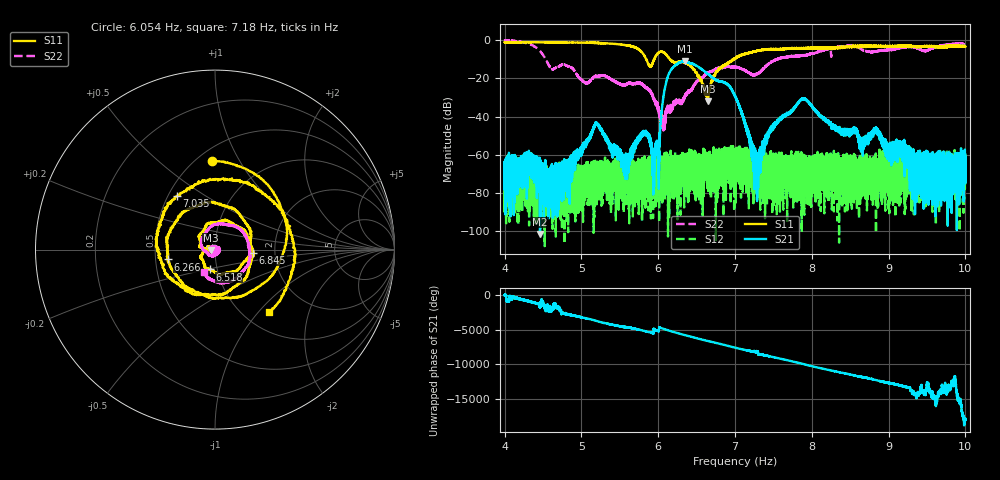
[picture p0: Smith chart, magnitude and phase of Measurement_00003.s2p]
!Created with skrf (http://scikit-rf.org).
# Hz S RI R 50.0
!freq ReS11 ImS11 ReS21 ImS21 ReS12 ImS12 ReS22 ImS22
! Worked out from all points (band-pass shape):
!   14001 points, 4 Hz to 10 Hz, reference 50 ohm
!   highest |S21| = -11.13 dB at 6.344 Hz (marker M1); lowest = -101.5 dB at 4.461 Hz (marker M2)
!   |S21| within 3 dB of the highest: 6.197 Hz to 6.528 Hz (331.1 mHz wide, 5.2 % of centre); 6.528568 Hz to 6.528578 Hz (10.18 uHz wide, 0.000156 % of centre) (the widest 2 of 3)
!   lowest |S11| = -32.1 dB at 6.644 Hz (marker M3), VSWR 1.05, Z = 47.6 - j0.177 ohm
!   |S11| at or under -10 dB: 5.844 Hz to 5.949 Hz (105.3 mHz wide, 1.79 % of centre); 6.152 Hz to 6.981 Hz (829.6 mHz wide, 12.6 % of centre); 6.982913 Hz to 6.985658 Hz (2.745 mHz wide, 0.0393 % of centre) (the widest 3 of 6)
!   |S22| runs from -47.4 to -0.2 dB; largest |S21 - S12| = 0.28
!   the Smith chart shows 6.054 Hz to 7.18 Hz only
!   S11 on the Smith chart (normalised r, x): 6.054 Hz: 0.59, +0.77; 6.266 Hz: 0.58, -0.07; 6.518 Hz: 0.92, -0.21; 6.845 Hz: 1.54, -0.05; 7.035 Hz: 0.56, +0.38; 7.18 Hz: 1.30, -1.14
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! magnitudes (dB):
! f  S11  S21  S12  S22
! 4 Hz  -1.1  -67.7  -74.7  -0.2
! 4.461 Hz  -1.1  -101.5  -82.9  -5.7
! 4.704 Hz  -1.1  -64.8  -79.5  -13.9
! 5 Hz  -1.3  -56.2  -80.9  -20.8
! 5.195 Hz  -1.5  -43.7  -73.6  -18.8
! 5.575 Hz  -2.6  -63.5  -64.8  -23.3
! 5.81 Hz  -7.5  -48.1  -71.1  -23.7
! 6 Hz  -6.8  -59.0  -65.2  -35.1
! 6.054 Hz  -6.1  -33.9  -71.6  -40.5
! 6.266 Hz  -11.4  -12.0  -67.9  -31.5
! 6.344 Hz  -11.5  -11.1  -62.5  -30.3
! 6.518 Hz  -18.8  -13.9  -74.7  -21.1
! 6.644 Hz  -32.1  -17.6  -70.9  -17.1
! 6.845 Hz  -13.4  -21.9  -68.1  -14.4
! 7 Hz  -9.6  -29.3  -65.1  -14.0
! 7.035 Hz  -8.8  -32.4  -66.1  -14.3
! 7.18 Hz  -6.7  -49.1  -58.5  -16.9
! 7.29 Hz  -5.6  -61.1  -62.1  -17.6
! 7.579 Hz  -4.9  -41.6  -62.3  -9.5
! 8 Hz  -4.3  -34.6  -81.7  -6.9
! 9 Hz  -3.3  -58.3  -66.4  -5.1
! 10 Hz  -3.4  -60.0  -64.8  -3.1
